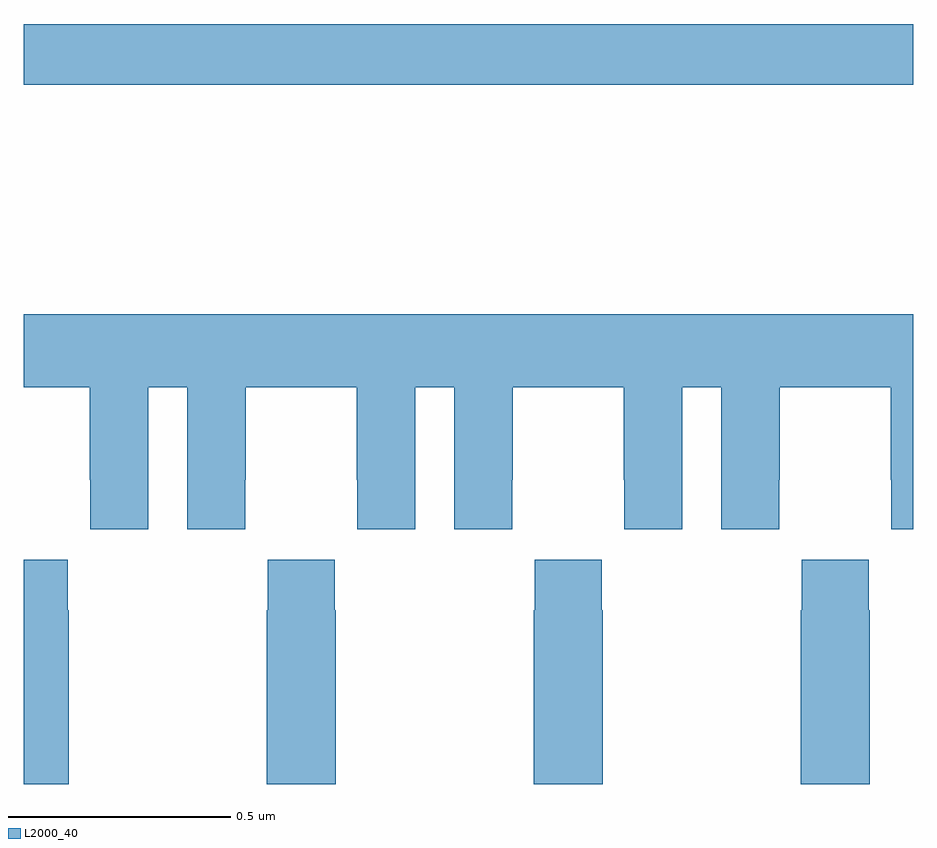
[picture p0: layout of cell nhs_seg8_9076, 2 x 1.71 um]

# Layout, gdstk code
import gdstk
lib = gdstk.Library(unit=1e-6, precision=1e-09)
def R(c, l, rs):  # rectangles x0, y0, x1, y1
    for r in rs: c.add(gdstk.rectangle(r[:2], r[2:], *l))
def P(c, l, *ps):  # polygons
    for p in ps: c.add(gdstk.Polygon(p, *l))
L2000_40 = (2000, 40)

nhs_seg8_9076 = lib.new_cell('nhs_seg8_9076')
R(nhs_seg8_9076, L2000_40, [(231,1158.472,233,1158.608)])
P(nhs_seg8_9076, L2000_40, [(231.28,1157.792),(231.368,1157.792),(231.368,1157.472),(231.498,1157.472),(231.498,1157.584),(231.499,1157.584),(231.499,1157.792),(231.749,1157.792),(231.749,1157.584),(231.75,1157.584),(231.75,1157.472),(231.88,1157.472),(231.88,1157.792),(231.968,1157.792),(231.968,1157.472),(232.098,1157.472),(232.098,1157.584),(232.099,1157.584),(232.099,1157.792),(232.349,1157.792),(232.349,1157.584),(232.35,1157.584),(232.35,1157.472),(232.48,1157.472),(232.48,1157.792),(232.568,1157.792),(232.568,1157.472),(232.698,1157.472),(232.698,1157.584),(232.699,1157.584),(232.699,1157.792),(232.949,1157.792),(232.949,1157.584),(232.95,1157.584),(232.95,1157.472),(233,1157.472),(233,1157.956),(231,1157.956),(231,1157.792),(231.149,1157.792),(231.149,1157.584),(231.15,1157.584),(231.15,1157.472),(231.28,1157.472)],
  [(232.902,1157.291),(232.899,1157.291),(232.899,1157.404),(232.749,1157.404),(232.749,1157.291),(232.747,1157.291),(232.747,1156.9),(232.902,1156.9)],
  [(232.302,1157.291),(232.299,1157.291),(232.299,1157.404),(232.149,1157.404),(232.149,1157.291),(232.147,1157.291),(232.147,1156.9),(232.302,1156.9)],
  [(231.702,1157.291),(231.699,1157.291),(231.699,1157.404),(231.549,1157.404),(231.549,1157.291),(231.547,1157.291),(231.547,1156.9),(231.702,1156.9)],
  [(231.102,1157.291),(231.099,1157.291),(231.099,1157.404),(231,1157.404),(231,1156.9),(231.102,1156.9)])

lib.write_gds('nhs_seg8_9076.gds')
